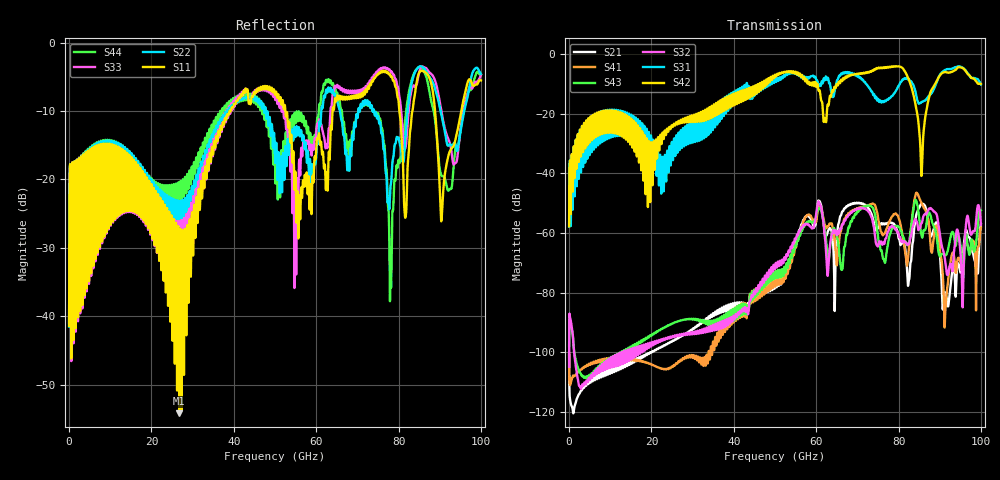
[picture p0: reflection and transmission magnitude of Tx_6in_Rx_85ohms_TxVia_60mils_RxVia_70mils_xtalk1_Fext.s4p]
! Info: Touchstone file created by Circ.  Input file=Tx_6in_Rx_85ohms_TxVia_60mils_RxVia_70mils.circ
# Hz S RI R 50
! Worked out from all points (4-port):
!   10000 points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, 10 MHz to 100 GHz, reference 50 ohm
!   strongest paths, dB at 10 MHz, 25.01 GHz, 50.01 GHz, 75.01 GHz, 100 GHz:
!     S42: -57.7, -24.1, -6.9, -4.8, -10.0
!     S31: -57.8, -29.7, -8.3, -15.1, -10.2
!     S32: -104.8, -94.8, -71.7, -64.4, -57.2
!     S43: -97.9, -90.3, -74.8, -61.1, -52.4
!     S41: -100.1, -104.8, -77.9, -54.8, -58.2
!     S21: -100.9, -96.3, -77.6, -58.4, -57.1
!   lowest |S11| = -54.2 dB at 26.78 GHz (marker M1), VSWR 1.00, Z = 50.1 + j0.129 ohm
!   |S11| at or under -10 dB: start of sweep to 38.93 GHz; 52.53 GHz to 63.98 GHz (11.45 GHz wide, 19.7 % of centre); 88.87 GHz to 95.21 GHz (6.334 GHz wide, 6.88 % of centre)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
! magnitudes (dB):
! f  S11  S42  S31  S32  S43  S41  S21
! 10 MHz  -41.4  -57.7  -57.8  -104.8  -97.9  -100.1  -100.9
! 26.78 GHz  -54.2  -23.2  -30.5  -94.0  -89.5  -103.2  -94.9
! 63.19 GHz  -16.7  -15.4  -9.9  -66.8  -67.5  -57.0  -58.5
! 78.1 GHz  -5.0  -4.4  -14.5  -58.0  -59.6  -55.3  -56.6
! 85.56 GHz  -4.1  -40.8  -16.1  -56.7  -60.6  -49.8  -50.2
! 91.04 GHz  -20.3  -6.1  -5.6  -67.0  -67.2  -83.6  -80.4
! 100 GHz  -5.5  -10.0  -10.2  -57.2  -52.4  -58.2  -57.1
